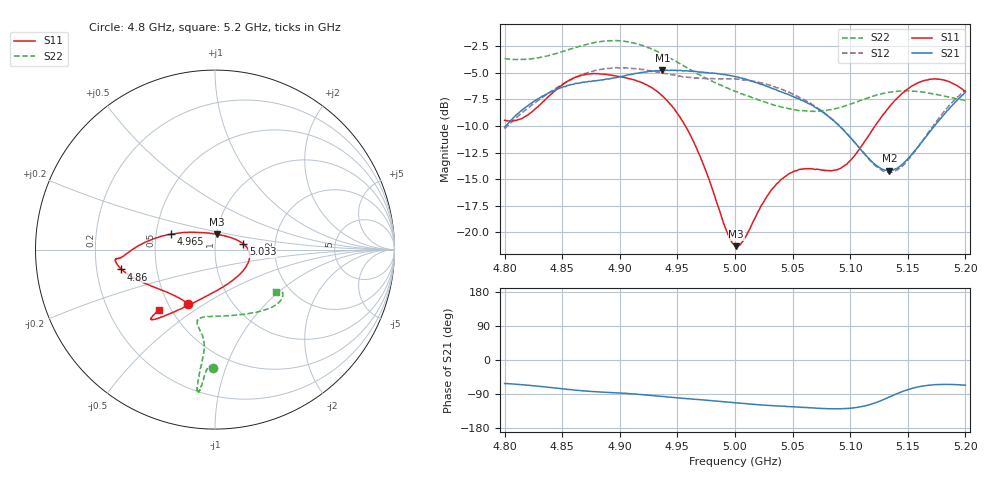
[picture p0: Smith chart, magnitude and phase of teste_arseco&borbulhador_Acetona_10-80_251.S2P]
! Network Analyzer HP8722D
! Hewlett-Packard
! Data name: Linha & Wilkinson
! Saver's name: Rodrigo Anjos
! Comments: Teste da utilização de aquisição
! continua pelo VNA HP8722D
! Time and date: 17/4/2025 16:27
!  Frequency  S11  S21  S12  S22
# HZ  S  MA R 50
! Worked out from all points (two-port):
!   401 points, 4.8 GHz to 5.2 GHz, reference 50 ohm
!   highest |S21| = -4.73 dB at 4.937 GHz (marker M1); lowest = -14.2 dB at 5.134 GHz (marker M2)
!   |S21| within 3 dB of the highest: 4.825 GHz to 5.061 GHz (236 MHz wide, 4.77 % of centre); 5.191496 GHz to end of sweep
!   lowest |S11| = -21.3 dB at 5.001 GHz (marker M3), VSWR 1.19, Z = 50.4 + j8.63 ohm
!   |S11| at or under -10 dB: 4.957 GHz to 5.122 GHz (164.6 MHz wide, 3.27 % of centre)
!   |S22| runs from -8.6 to -1.9 dB; largest |S21 - S12| = 0.87
!   S11 on the Smith chart (normalised r, x): 4.8 GHz: 0.63, -0.43; 4.86 GHz: 0.31, -0.09; 4.965 GHz: 0.60, +0.11; 5.033 GHz: 1.37, +0.09; 5.2 GHz: 0.43, -0.37
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4.8e9  0.3364 -116.4  0.3129 -62.1  0.3065 -176.4  0.6575 -91.2
4.819e9  0.3536 -136.7  0.3899 -66.4  0.3788 -175.8  0.6527 -92.9
4.86e9  0.5331 -168.1  0.4981 -79.1  0.5301 -179.1  0.7363 -95.3
4.867e9  0.549 -170.9  0.5079 -81.1  0.5523 179.5  0.7571 -95.6
4.9e9  0.5405 -174.9  0.5401 -87.2  0.5949 173.4  0.7973 -97.0
4.934e9  0.4531 179.4  0.576 -95.5  0.5688 170.1  0.7034 -97.3
4.937e9  0.4388 178.2  0.5804 -96.1  0.5616 170.3  0.6919 -97.1
4.951e9  0.356 170.9  0.5783 -100.1  0.5438 170.8  0.6275 -96.5
4.965e9  0.26 160.7  0.5733 -103.7  0.5322 172.2  0.5675 -96.4
4.993e9  0.1004 112.7  0.5501 -110.9  0.5277 174.4  0.4787 -98.7
5e9  0.08693 86.7  0.5406 -113.1  0.5276 174.5  0.4607 -100.1
5.001e9  0.08575 82.5  0.5399 -112.9  0.5256 174.5  0.4602 -100.5
5.008e9  0.09294 56.4  0.5279 -114.9  0.5207 174.3  0.4436 -101.8
5.033e9  0.1612 11.7  0.4748 -120.6  0.4866 173.2  0.3987 -103.5
5.05e9  0.1919 -4.7  0.4366 -123.5  0.4476 172.5  0.3787 -98.4
5.067e9  0.1985 -23.0  0.3956 -126.4  0.3991 172.3  0.3711 -88.6
5.096e9  0.2074 -73.5  0.2952 -128.2  0.2958 174.7  0.3943 -66.1
5.121e9  0.3122 -110.9  0.2094 -113.9  0.2076 -168.9  0.4391 -49.6
5.134e9  0.3893 -120.9  0.1947 -97.6  0.1909 -150.8  0.4563 -43.3
5.147e9  0.4584 -126.9  0.2131 -81.3  0.2087 -131.8  0.4629 -38.4
5.168e9  0.5234 -131.8  0.2916 -66.8  0.2959 -113.2  0.4513 -33.3
5.2e9  0.4589 -133.0  0.4551 -66.7  0.4667 -108.7  0.4166 -34.9
